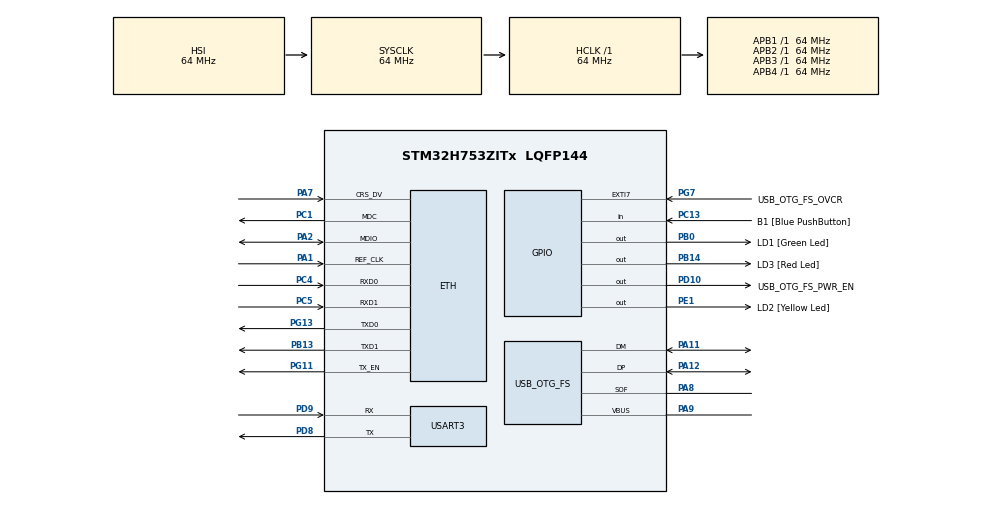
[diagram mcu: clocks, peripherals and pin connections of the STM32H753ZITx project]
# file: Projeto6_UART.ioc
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CORTEX_M7.CPU_DCache=Disabled
CORTEX_M7.CPU_ICache=Disabled
CORTEX_M7.MPU_Control=__NULL
ETH.ETH_RX_DESC_CNT=4
ETH.ETH_TX_DESC_CNT=4
ETH.MACAddr=00\:80\:E1\:00\:00\:00
ETH.MediaInterface=HAL_ETH_RMII_MODE
ETH.RxBuffAddress=0x30040200
ETH.RxBuffLen=1524
ETH.RxDescAddress=0x30040000
ETH.TxDescAddress=0x30040060
Mcu.Family=STM32H7
Mcu.Name=STM32H753ZITx
Mcu.Package=LQFP144
NVIC.PriorityGroup=NVIC_PRIORITYGROUP_4
NVIC.USART3_IRQn=true\:0\:0\:false\:false\:true\:true\:true\:true
PA1.Mode=RMII
PA1.Signal=ETH_REF_CLK
PA11.Mode=Device_Only
PA11.Signal=USB_OTG_FS_DM
PA12.Mode=Device_Only
PA12.Signal=USB_OTG_FS_DP
PA2.Mode=RMII
PA2.Signal=ETH_MDIO
PA7.Mode=RMII
PA7.Signal=ETH_CRS_DV
PA8.Mode=Activate_SOF_FS
PA8.Signal=USB_OTG_FS_SOF
PA9.Mode=Activate_VBUS
PA9.Signal=USB_OTG_FS_VBUS
PB0.GPIO_Label=LD1 [Green Led]
PB0.Signal=GPIO_Output
PB13.Mode=RMII
PB13.Signal=ETH_TXD1
PB14.GPIO_Label=LD3 [Red Led]
PB14.Signal=GPIO_Output
PC1.Mode=RMII
PC1.Signal=ETH_MDC
PC13.GPIO_Label=B1 [Blue PushButton]
PC13.Signal=GPIO_Input
PC14-OSC32_IN\ (OSC32_IN).Mode=LSE-External-Oscillator
PC14-OSC32_IN\ (OSC32_IN).Signal=RCC_OSC32_IN
PC15-OSC32_OUT\ (OSC32_OUT).Mode=LSE-External-Oscillator
PC15-OSC32_OUT\ (OSC32_OUT).Signal=RCC_OSC32_OUT
PC4.Mode=RMII
PC4.Signal=ETH_RXD0
PC5.Mode=RMII
PC5.Signal=ETH_RXD1
PD10.GPIO_Label=USB_OTG_FS_PWR_EN
PD10.Signal=GPIO_Output
PD8.Mode=Asynchronous
PD8.Signal=USART3_TX
PD9.Mode=Asynchronous
PD9.Signal=USART3_RX
PE1.GPIO_Label=LD2 [Yellow Led]
PE1.Signal=GPIO_Output
PG11.Mode=RMII
PG11.Signal=ETH_TX_EN
PG13.Mode=RMII
PG13.Signal=ETH_TXD0
PG7.GPIO_Label=USB_OTG_FS_OVCR
PG7.Signal=GPXTI7
PH0-OSC_IN\ (PH0).Mode=HSE-External-Clock-Source
PH0-OSC_IN\ (PH0).Signal=RCC_OSC_IN
PH1-OSC_OUT\ (PH1).Signal=RCC_OSC_OUT
ProjectManager.HeapSize=0x200
ProjectManager.StackSize=0x400
ProjectManager.TargetToolchain=STM32CubeIDE
RCC.ADCFreq_Value=16125000
RCC.APB1Freq_Value=64000000
RCC.APB2Freq_Value=64000000
RCC.APB3Freq_Value=64000000
RCC.APB4Freq_Value=64000000
RCC.CortexFreq_Value=64000000
RCC.DIVM1=1
RCC.DIVN1=24
RCC.DIVQ1=4
RCC.HCLKFreq_Value=64000000
RCC.HSE_VALUE=8000000
RCC.PLLFRACN=0
RCC.PWR_Regulator_Voltage_Scale=PWR_REGULATOR_VOLTAGE_SCALE2
RCC.SYSCLKFreq_VALUE=64000000
RCC.USBFreq_Value=48000000
USART3.VirtualMode-Asynchronous=VM_ASYNC
USB_OTG_FS.Sof_enable=ENABLE
USB_OTG_FS.VirtualMode=Device_Only
USB_OTG_FS.battery_charging_enable=ENABLE
USB_OTG_FS.low_power_enable=DISABLE
USB_OTG_FS.lpm_enable=DISABLE
USB_OTG_FS.use_dedicated_ep1=DISABLE
USB_OTG_FS.vbus_sensing_enable=ENABLE
VP_MEMORYMAP_VS_MEMORYMAP.Mode=CurAppReg
board=NUCLEO-H753ZI

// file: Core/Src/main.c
/* USER CODE BEGIN Header */
/**
  ******************************************************************************
  * @file           : main.c
  * @brief          : Main program body
  ******************************************************************************
  * @attention
  *
  * Copyright (c) 2024 STMicroelectronics.
  * All rights reserved.
  *
  * This software is licensed under terms that can be found in the LICENSE file
  * in the root directory of this software component.
  * If no LICENSE file comes with this software, it is provided AS-IS.
  *
  ******************************************************************************
  */
/* USER CODE END Header */
#include "main.h"
#include "string.h"

#if defined ( __ICCARM__ ) /*!< IAR Compiler */
#pragma location=0x30040000
ETH_DMADescTypeDef  DMARxDscrTab[ETH_RX_DESC_CNT]; /* Ethernet Rx DMA Descriptors */
#pragma location=0x30040060
ETH_DMADescTypeDef  DMATxDscrTab[ETH_TX_DESC_CNT]; /* Ethernet Tx DMA Descriptors */

#elif defined ( __CC_ARM )  /* MDK ARM Compiler */

__attribute__((at(0x30040000))) ETH_DMADescTypeDef  DMARxDscrTab[ETH_RX_DESC_CNT]; /* Ethernet Rx DMA Descriptors */
__attribute__((at(0x30040060))) ETH_DMADescTypeDef  DMATxDscrTab[ETH_TX_DESC_CNT]; /* Ethernet Tx DMA Descriptors */

#elif defined ( __GNUC__ ) /* GNU Compiler */

ETH_DMADescTypeDef DMARxDscrTab[ETH_RX_DESC_CNT] __attribute__((section(".RxDecripSection"))); /* Ethernet Rx DMA Descriptors */
ETH_DMADescTypeDef DMATxDscrTab[ETH_TX_DESC_CNT] __attribute__((section(".TxDecripSection")));   /* Ethernet Tx DMA Descriptors */
#endif

ETH_TxPacketConfig TxConfig;

ETH_HandleTypeDef heth;

UART_HandleTypeDef huart3;

PCD_HandleTypeDef hpcd_USB_OTG_FS;

void SystemClock_Config(void);
static void MX_GPIO_Init(void);
static void MX_ETH_Init(void);
static void MX_USART3_UART_Init(void);
static void MX_USB_OTG_FS_PCD_Init(void);

/* USER CODE BEGIN 0 */

	char rx_buffer[10]; // Buffer for received character
	char message[] = "Test UART Communication\r\n";
	char Rx_flag = '0';

/* USER CODE END 0 */

int main(void)
{

  /* MCU Configuration--------------------------------------------------------*/

  /* Reset of all peripherals, Initializes the Flash interface and the Systick. */
  HAL_Init();

  /* Configure the system clock */
  SystemClock_Config();

  /* Initialize all configured peripherals */
  MX_GPIO_Init();
  MX_ETH_Init();
  MX_USART3_UART_Init();
  MX_USB_OTG_FS_PCD_Init();
  /* USER CODE BEGIN 2 */
	  HAL_UART_Receive_IT(&huart3, rx_buffer, sizeof(rx_buffer));
	  /* USER CODE END 2 */
	  /* Infinite loop */
	  /* USER CODE BEGIN WHILE */

	  /* USER CODE END 2 */

  /* Infinite loop */
  /* USER CODE BEGIN WHILE */
  while (1)
  {
    /* USER CODE END WHILE */

    /* USER CODE BEGIN 3 */
	  }
	  // Blink the LED (PB0)
	  HAL_GPIO_TogglePin(GPIOB, GPIO_PIN_0);
	  HAL_UART_Transmit_IT(&huart3, (uint8_t*)message, strlen(message));
	  HAL_Delay(500); // 1 Hz blink
	  // Check if a character is received
	  if (Rx_flag == '1')
	  {
	  // Echo the received character back
	  Rx_flag = '0';
	  HAL_UART_Transmit_IT(&huart3, (uint8_t*)rx_buffer, sizeof(rx_buffer));
	  } else {
	  __NOP();
	  }
  }
  /* USER CODE END 3 */

void SystemClock_Config(void)
{
  RCC_OscInitTypeDef RCC_OscInitStruct = {0};
  RCC_ClkInitTypeDef RCC_ClkInitStruct = {0};

  /** Supply configuration update enable
  */
  HAL_PWREx_ConfigSupply(PWR_LDO_SUPPLY);

  /** Configure the main internal regulator output voltage
  */
  __HAL_PWR_VOLTAGESCALING_CONFIG(PWR_REGULATOR_VOLTAGE_SCALE2);

  while(!__HAL_PWR_GET_FLAG(PWR_FLAG_VOSRDY)) {}

  /** Initializes the RCC Oscillators according to the specified parameters
  * in the RCC_OscInitTypeDef structure.
  */
  RCC_OscInitStruct.OscillatorType = RCC_OSCILLATORTYPE_HSI|RCC_OSCILLATORTYPE_HSE;
  RCC_OscInitStruct.HSEState = RCC_HSE_BYPASS;
  RCC_OscInitStruct.HSIState = RCC_HSI_DIV1;
  RCC_OscInitStruct.HSICalibrationValue = RCC_HSICALIBRATION_DEFAULT;
  RCC_OscInitStruct.PLL.PLLState = RCC_PLL_ON;
  RCC_OscInitStruct.PLL.PLLSource = RCC_PLLSOURCE_HSE;
  RCC_OscInitStruct.PLL.PLLM = 1;
  RCC_OscInitStruct.PLL.PLLN = 24;
  RCC_OscInitStruct.PLL.PLLP = 2;
  RCC_OscInitStruct.PLL.PLLQ = 4;
  RCC_OscInitStruct.PLL.PLLR = 2;
  RCC_OscInitStruct.PLL.PLLRGE = RCC_PLL1VCIRANGE_3;
  RCC_OscInitStruct.PLL.PLLVCOSEL = RCC_PLL1VCOWIDE;
  RCC_OscInitStruct.PLL.PLLFRACN = 0;
  if (HAL_RCC_OscConfig(&RCC_OscInitStruct) != HAL_OK)
  {
    Error_Handler();
  }

  /** Initializes the CPU, AHB and APB buses clocks
  */
  RCC_ClkInitStruct.ClockType = RCC_CLOCKTYPE_HCLK|RCC_CLOCKTYPE_SYSCLK
                              |RCC_CLOCKTYPE_PCLK1|RCC_CLOCKTYPE_PCLK2
                              |RCC_CLOCKTYPE_D3PCLK1|RCC_CLOCKTYPE_D1PCLK1;
  RCC_ClkInitStruct.SYSCLKSource = RCC_SYSCLKSOURCE_HSI;
  RCC_ClkInitStruct.SYSCLKDivider = RCC_SYSCLK_DIV1;
  RCC_ClkInitStruct.AHBCLKDivider = RCC_HCLK_DIV1;
  RCC_ClkInitStruct.APB3CLKDivider = RCC_APB3_DIV1;
  RCC_ClkInitStruct.APB1CLKDivider = RCC_APB1_DIV1;
  RCC_ClkInitStruct.APB2CLKDivider = RCC_APB2_DIV1;
  RCC_ClkInitStruct.APB4CLKDivider = RCC_APB4_DIV1;

  if (HAL_RCC_ClockConfig(&RCC_ClkInitStruct, FLASH_LATENCY_1) != HAL_OK)
  {
    Error_Handler();
  }
}

static void MX_ETH_Init(void)
{

   static uint8_t MACAddr[6];

  heth.Instance = ETH;
  MACAddr[0] = 0x00;
  MACAddr[1] = 0x80;
  MACAddr[2] = 0xE1;
  MACAddr[3] = 0x00;
  MACAddr[4] = 0x00;
  MACAddr[5] = 0x00;
  heth.Init.MACAddr = &MACAddr[0];
  heth.Init.MediaInterface = HAL_ETH_RMII_MODE;
  heth.Init.TxDesc = DMATxDscrTab;
  heth.Init.RxDesc = DMARxDscrTab;
  heth.Init.RxBuffLen = 1524;

  if (HAL_ETH_Init(&heth) != HAL_OK)
  {
    Error_Handler();
  }

  memset(&TxConfig, 0 , sizeof(ETH_TxPacketConfig));
  TxConfig.Attributes = ETH_TX_PACKETS_FEATURES_CSUM | ETH_TX_PACKETS_FEATURES_CRCPAD;
  TxConfig.ChecksumCtrl = ETH_CHECKSUM_IPHDR_PAYLOAD_INSERT_PHDR_CALC;
  TxConfig.CRCPadCtrl = ETH_CRC_PAD_INSERT;

}

static void MX_USART3_UART_Init(void)
{

  huart3.Instance = USART3;
  huart3.Init.BaudRate = 115200;
  huart3.Init.WordLength = UART_WORDLENGTH_8B;
  huart3.Init.StopBits = UART_STOPBITS_1;
  huart3.Init.Parity = UART_PARITY_NONE;
  huart3.Init.Mode = UART_MODE_TX_RX;
  huart3.Init.HwFlowCtl = UART_HWCONTROL_NONE;
  huart3.Init.OverSampling = UART_OVERSAMPLING_16;
  huart3.Init.OneBitSampling = UART_ONE_BIT_SAMPLE_DISABLE;
  huart3.Init.ClockPrescaler = UART_PRESCALER_DIV1;
  huart3.AdvancedInit.AdvFeatureInit = UART_ADVFEATURE_NO_INIT;
  if (HAL_UART_Init(&huart3) != HAL_OK)
  {
    Error_Handler();
  }
  if (HAL_UARTEx_SetTxFifoThreshold(&huart3, UART_TXFIFO_THRESHOLD_1_8) != HAL_OK)
  {
    Error_Handler();
  }
  if (HAL_UARTEx_SetRxFifoThreshold(&huart3, UART_RXFIFO_THRESHOLD_1_8) != HAL_OK)
  {
    Error_Handler();
  }
  if (HAL_UARTEx_DisableFifoMode(&huart3) != HAL_OK)
  {
    Error_Handler();
  }

}

static void MX_USB_OTG_FS_PCD_Init(void)
{

  hpcd_USB_OTG_FS.Instance = USB_OTG_FS;
  hpcd_USB_OTG_FS.Init.dev_endpoints = 9;
  hpcd_USB_OTG_FS.Init.speed = PCD_SPEED_FULL;
  hpcd_USB_OTG_FS.Init.dma_enable = DISABLE;
  hpcd_USB_OTG_FS.Init.phy_itface = PCD_PHY_EMBEDDED;
  hpcd_USB_OTG_FS.Init.Sof_enable = ENABLE;
  hpcd_USB_OTG_FS.Init.low_power_enable = DISABLE;
  hpcd_USB_OTG_FS.Init.lpm_enable = DISABLE;
  hpcd_USB_OTG_FS.Init.battery_charging_enable = ENABLE;
  hpcd_USB_OTG_FS.Init.vbus_sensing_enable = ENABLE;
  hpcd_USB_OTG_FS.Init.use_dedicated_ep1 = DISABLE;
  if (HAL_PCD_Init(&hpcd_USB_OTG_FS) != HAL_OK)
  {
    Error_Handler();
  }

}

static void MX_GPIO_Init(void)
{
  GPIO_InitTypeDef GPIO_InitStruct = {0};

  /* GPIO Ports Clock Enable */
  __HAL_RCC_GPIOC_CLK_ENABLE();
  __HAL_RCC_GPIOH_CLK_ENABLE();
  __HAL_RCC_GPIOA_CLK_ENABLE();
  __HAL_RCC_GPIOB_CLK_ENABLE();
  __HAL_RCC_GPIOD_CLK_ENABLE();
  __HAL_RCC_GPIOG_CLK_ENABLE();
  __HAL_RCC_GPIOE_CLK_ENABLE();

  /*Configure GPIO pin Output Level */
  HAL_GPIO_WritePin(GPIOB, LD1_Pin|LD3_Pin, GPIO_PIN_RESET);

  /*Configure GPIO pin Output Level */
  HAL_GPIO_WritePin(USB_OTG_FS_PWR_EN_GPIO_Port, USB_OTG_FS_PWR_EN_Pin, GPIO_PIN_RESET);

  /*Configure GPIO pin Output Level */
  HAL_GPIO_WritePin(LD2_GPIO_Port, LD2_Pin, GPIO_PIN_RESET);

  /*Configure GPIO pin : B1_Pin */
  GPIO_InitStruct.Pin = B1_Pin;
  GPIO_InitStruct.Mode = GPIO_MODE_INPUT;
  GPIO_InitStruct.Pull = GPIO_NOPULL;
  HAL_GPIO_Init(B1_GPIO_Port, &GPIO_InitStruct);

  /*Configure GPIO pins : LD1_Pin LD3_Pin */
  GPIO_InitStruct.Pin = LD1_Pin|LD3_Pin;
  GPIO_InitStruct.Mode = GPIO_MODE_OUTPUT_PP;
  GPIO_InitStruct.Pull = GPIO_NOPULL;
  GPIO_InitStruct.Speed = GPIO_SPEED_FREQ_LOW;
  HAL_GPIO_Init(GPIOB, &GPIO_InitStruct);

  /*Configure GPIO pin : USB_OTG_FS_PWR_EN_Pin */
  GPIO_InitStruct.Pin = USB_OTG_FS_PWR_EN_Pin;
  GPIO_InitStruct.Mode = GPIO_MODE_OUTPUT_PP;
  GPIO_InitStruct.Pull = GPIO_NOPULL;
  GPIO_InitStruct.Speed = GPIO_SPEED_FREQ_LOW;
  HAL_GPIO_Init(USB_OTG_FS_PWR_EN_GPIO_Port, &GPIO_InitStruct);

  /*Configure GPIO pin : USB_OTG_FS_OVCR_Pin */
  GPIO_InitStruct.Pin = USB_OTG_FS_OVCR_Pin;
  GPIO_InitStruct.Mode = GPIO_MODE_IT_RISING;
  GPIO_InitStruct.Pull = GPIO_NOPULL;
  HAL_GPIO_Init(USB_OTG_FS_OVCR_GPIO_Port, &GPIO_InitStruct);

  /*Configure GPIO pin : LD2_Pin */
  GPIO_InitStruct.Pin = LD2_Pin;
  GPIO_InitStruct.Mode = GPIO_MODE_OUTPUT_PP;
  GPIO_InitStruct.Pull = GPIO_NOPULL;
  GPIO_InitStruct.Speed = GPIO_SPEED_FREQ_LOW;
  HAL_GPIO_Init(LD2_GPIO_Port, &GPIO_InitStruct);

}

/* USER CODE BEGIN 4 */

	void HAL_UART_RxCpltCallback(UART_HandleTypeDef *huart)
	{
	Rx_flag = '1';
	HAL_UART_Receive_IT(&huart3, rx_buffer, sizeof(rx_buffer));
	}

/* USER CODE END 4 */

void Error_Handler(void)
{
  __disable_irq();
  while (1)
  {
  }
}
